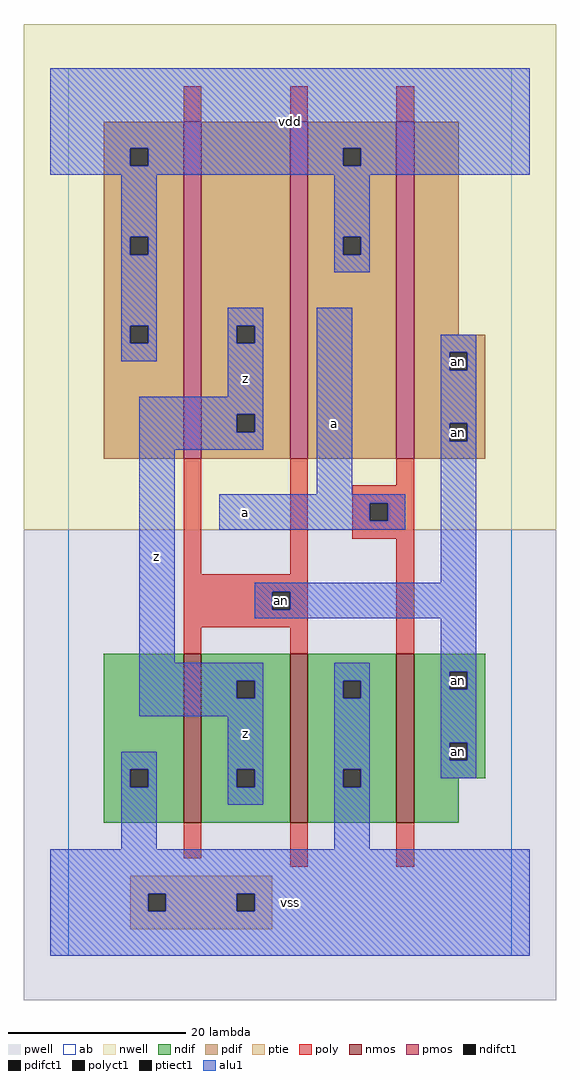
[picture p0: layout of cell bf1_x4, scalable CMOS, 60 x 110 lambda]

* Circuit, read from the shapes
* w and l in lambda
.subckt bf1_x4 a an vdd vss z
M1 z an vss vss nfet w=19 l=2 m=2
M2 an a vss vss nfet w=19 l=2
M3 z an vdd n1 pfet w=38 l=2 m=2
M4 an a vdd n1 pfet w=38 l=2
.ends

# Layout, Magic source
magic
tech scmos
<< ab >>
rect 0 0 50 100
<< nwell >>
rect -5 48 55 105
<< pwell >>
rect -5 -5 55 48
<< poly >>
rect 13 94 15 98
rect 25 94 27 98
rect 37 94 39 98
rect 13 43 15 56
rect 25 43 27 56
rect 37 53 39 56
rect 32 51 39 53
rect 32 49 34 51
rect 36 49 39 51
rect 32 47 39 49
rect 13 41 27 43
rect 13 39 23 41
rect 25 39 27 41
rect 13 37 27 39
rect 13 34 15 37
rect 25 34 27 37
rect 37 34 39 47
rect 13 11 15 15
rect 25 10 27 15
rect 37 10 39 15
<< ndif >>
rect 4 21 13 34
rect 4 19 7 21
rect 9 19 13 21
rect 4 15 13 19
rect 15 31 25 34
rect 15 29 19 31
rect 21 29 25 31
rect 15 21 25 29
rect 15 19 19 21
rect 21 19 25 21
rect 15 15 25 19
rect 27 31 37 34
rect 27 29 31 31
rect 33 29 37 31
rect 27 21 37 29
rect 27 19 31 21
rect 33 19 37 21
rect 27 15 37 19
rect 39 32 47 34
rect 39 30 43 32
rect 45 30 47 32
rect 39 24 47 30
rect 39 22 43 24
rect 45 22 47 24
rect 39 20 47 22
rect 39 15 44 20
<< pdif >>
rect 4 91 13 94
rect 4 89 7 91
rect 9 89 13 91
rect 4 81 13 89
rect 4 79 7 81
rect 9 79 13 81
rect 4 71 13 79
rect 4 69 7 71
rect 9 69 13 71
rect 4 56 13 69
rect 15 71 25 94
rect 15 69 19 71
rect 21 69 25 71
rect 15 61 25 69
rect 15 59 19 61
rect 21 59 25 61
rect 15 56 25 59
rect 27 91 37 94
rect 27 89 31 91
rect 33 89 37 91
rect 27 81 37 89
rect 27 79 31 81
rect 33 79 37 81
rect 27 56 37 79
rect 39 70 44 94
rect 39 68 47 70
rect 39 66 43 68
rect 45 66 47 68
rect 39 60 47 66
rect 39 58 43 60
rect 45 58 47 60
rect 39 56 47 58
<< alu1 >>
rect -2 91 52 100
rect -2 89 7 91
rect 9 89 31 91
rect 33 89 52 91
rect -2 88 52 89
rect 6 81 10 88
rect 6 79 7 81
rect 9 79 10 81
rect 6 71 10 79
rect 30 81 34 88
rect 30 79 31 81
rect 33 79 34 81
rect 30 77 34 79
rect 6 69 7 71
rect 9 69 10 71
rect 6 67 10 69
rect 18 71 22 73
rect 18 69 19 71
rect 21 69 22 71
rect 18 63 22 69
rect 8 61 22 63
rect 8 59 19 61
rect 21 59 22 61
rect 8 57 22 59
rect 8 33 12 57
rect 28 52 32 73
rect 42 68 46 70
rect 42 66 43 68
rect 45 66 46 68
rect 42 60 46 66
rect 42 58 43 60
rect 45 58 46 60
rect 17 51 38 52
rect 17 49 34 51
rect 36 49 38 51
rect 17 48 38 49
rect 42 42 46 58
rect 21 41 46 42
rect 21 39 23 41
rect 25 39 46 41
rect 21 38 46 39
rect 8 31 22 33
rect 8 29 19 31
rect 21 29 22 31
rect 8 27 22 29
rect 6 21 10 23
rect 6 19 7 21
rect 9 19 10 21
rect 6 12 10 19
rect 18 21 22 27
rect 18 19 19 21
rect 21 19 22 21
rect 18 17 22 19
rect 30 31 34 33
rect 30 29 31 31
rect 33 29 34 31
rect 30 21 34 29
rect 30 19 31 21
rect 33 19 34 21
rect 42 32 46 38
rect 42 30 43 32
rect 45 30 46 32
rect 42 24 46 30
rect 42 22 43 24
rect 45 22 46 24
rect 42 20 46 22
rect 30 12 34 19
rect -2 7 52 12
rect -2 5 9 7
rect 11 5 19 7
rect 21 5 52 7
rect -2 0 52 5
<< ptie >>
rect 7 7 23 9
rect 7 5 9 7
rect 11 5 19 7
rect 21 5 23 7
rect 7 3 23 5
<< nmos >>
rect 13 15 15 34
rect 25 15 27 34
rect 37 15 39 34
<< pmos >>
rect 13 56 15 94
rect 25 56 27 94
rect 37 56 39 94
<< polyct1 >>
rect 34 49 36 51
rect 23 39 25 41
<< ndifct1 >>
rect 7 19 9 21
rect 19 29 21 31
rect 19 19 21 21
rect 31 29 33 31
rect 31 19 33 21
rect 43 30 45 32
rect 43 22 45 24
<< ptiect1 >>
rect 9 5 11 7
rect 19 5 21 7
<< pdifct1 >>
rect 7 89 9 91
rect 7 79 9 81
rect 7 69 9 71
rect 19 69 21 71
rect 19 59 21 61
rect 31 89 33 91
rect 31 79 33 81
rect 43 66 45 68
rect 43 58 45 60
<< labels >>
rlabel polyct1 24 40 24 40 6 an
rlabel ndifct1 44 23 44 23 6 an
rlabel ndifct1 44 31 44 31 6 an
rlabel pdifct1 44 59 44 59 6 an
rlabel pdifct1 44 67 44 67 6 an
rlabel alu1 20 25 20 25 6 z
rlabel alu1 10 45 10 45 6 z
rlabel alu1 20 50 20 50 6 a
rlabel alu1 20 65 20 65 6 z
rlabel alu1 25 6 25 6 6 vss
rlabel alu1 30 60 30 60 6 a
rlabel alu1 25 94 25 94 6 vdd
<< end >>
